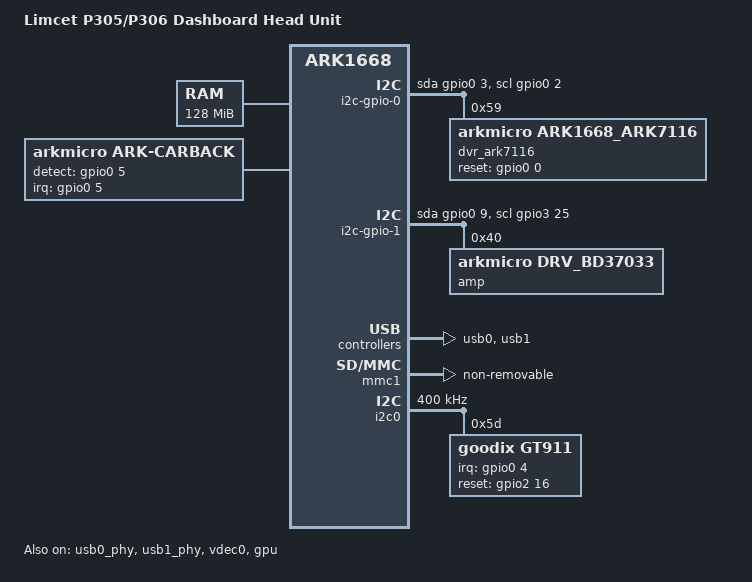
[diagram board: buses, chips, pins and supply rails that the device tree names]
// SPDX-License-Identifier: GPL-2.0
/dts-v1/;
#include "ark1668.dtsi"
#include "ark1668-pinctrl.dtsi"
#include <dt-bindings/gpio/gpio.h>

/ {
	model = "Limcet P305/P306 Dashboard Head Unit";
	compatible = "arkmicro,ark1668-limcet", "arkmicro,ark1668";

	memory {
		reg = <0x0 0x8000000>; // 128MB RAM
	};

	// Reversing Signal (Mapped but Prado uses UART protocol via MCUAdapter)
	carback: carback@0 {
		compatible = "arkmicro,ark-carback";
		interrupt-parent = <&gpio0>;
		interrupts = <5 IRQ_TYPE_EDGE_BOTH>;
		detect-gpios = <&gpio0 5 GPIO_ACTIVE_HIGH>;
		debounce-detect = <20>;
	};

	mcu_serial: mcu-serial@0 {
		compatible = "arkmicro,ark-mcu-serial";
	};

	tool_serial: tool-serial@0 {
		compatible = "arkmicro,ark-tool-serial";
	};

	// Bit-banged I2C Bus 0 (Analog I2C)
	i2c-gpio-0 {
		#address-cells = <1>;
		#size-cells = <0>;
		compatible = "i2c-gpio";
		gpios = <&gpio0 3 0		/* SDA (GPIO 3) */
			 &gpio0 2 0		/* SCL (GPIO 2) */
		>;
		i2c-gpio,delay-us = <6>;
		i2c-gpio,scl-output-only;

		// AHD Video Input Decoder (Reset line on GPIO 0)
		dvr_ark7116: dvr_ark7116@B2 {
			compatible = "arkmicro,ark1668_ark7116";
			reset-gpio = <&gpio0 0 0>;
			reg = <0x59>;
			carback-config = <1>;
		};
	};

	// Bit-banged I2C Bus 1
	i2c-gpio-1 {
		#address-cells = <1>;
		#size-cells = <0>;
		compatible = "i2c-gpio";
		gpios = <&gpio0 9 0		/* SDA (GPIO 9) */
			 &gpio3 25 0		/* SCL (GPIO 121) */
		>;
		i2c-gpio,delay-us = <6>;
		i2c-gpio,scl-output-only;

		// ROHM BD37033 Sound Processor
		amp: drv_bd37033@40 {
			status = "okay";
			compatible = "arkmicro,drv_bd37033";
			reg = <0x40>;
			flout-gain = <65>;
			frout-gain = <65>;
			rlout-gain = <65>;
			rrout-gain = <65>;
			#sound-dai-cells = <0>;
		};
	};

	// Audio Card configuration
	sound {
		compatible = "simple-audio-card";
		simple-audio-card,format = "i2s";
		simple-audio-card,name = "ark1668-audio";

		simple-audio-card,dai-link@0 { /* I2S ADC link */
			cpu {
				sound-dai = <&i2s_adc>;
			};
			codec {
				sound-dai = <&sdadc>;
			};
		};
		simple-audio-card,dai-link@1 { /* I2S DAC link */
			bitclock-master = <&playback_cpu>;
			frame-master = <&playback_cpu>;
			playback_cpu: cpu {
				sound-dai = <&i2s_dac>;
			};
			playback_codec: codec {
				sound-dai = <&sddac>;
			};
		};
	};
};

&usb0_phy {
	compatible = "usb-nop-xceiv";
	#phy-cells = <0>;
	status = "okay";
};

&usb1_phy {
	compatible = "usb-nop-xceiv";
	#phy-cells = <0>;
	status = "okay";
};

&usb0 {
	status = "okay";
};

&usb1 {
	status = "okay";
};

// Console debug UART
&uart0 {
	use-in-kernel;
	use-for-tool;
};

&uart1 {
	status = "disabled";
};

// High-speed MCU Communication UART
&uart3 {
	use-in-kernel;
	use-for-mcu;
};

// LCD Framebuffer Configuration
&lcdc {
	display = <&display0>;
	pinctrl-names = "default";
	pinctrl-0 = <&pinctrl_lcd_base &pinctrl_lcd_rgb888>;

	display0: display@0 {
		interface-type = "TTL";
		lvds-con = <0x160fd>;
		bits-per-pixel = <32>;
		power-control-gpio = <&gpio2 17 GPIO_ACTIVE_HIGH>; /* LCD power enable pin (GPIO 81) */
		lcd-wiring-mode = "BGR";
		lcdcon-backlight;
		pwms = <&pwm0 1 50000>; /* Backlight PWM Channel 1 */
		pwm-names = "backlight";
		backlight-value = <20>;
		backlight-delay = <200>;

		display-timings {
			native-mode = <&timing0>;
			timing0: timing0 {
				clock-frequency = <33000000>;
				hactive = <800>;
				vactive = <480>;
				hback-porch = <16>;
				hfront-porch = <210>;
				vback-porch = <12>;
				vfront-porch = <22>;
				hsync-len = <30>;
				vsync-len = <13>;
				hsync-active = <1>;
				vsync-active = <1>;
				de-active = <0>;
				pixelclk-active = <0>;
			};
		};
	};
};

&vdec0 {
	status = "okay";
};

// SDIO WiFi Controller
&mmc1 {
	status = "okay";
	non-removable;
	broken-cd;
};

&gpu {
	compatible = "arkmicro,vivante-hal", "fsl,imx6q-gpu";
	reg-names = "iobase_3d";
	interrupt-names = "irq_3d";
	clocks = <&gpuclk>, <&gpuclk>, <&gpuclk>, <&gpuclk>, <&gpuclk>, <&gpuclk>;
	clock-names = "gpu3d_clk", "gpu3d_axi_clk", "gpu3d_shader_clk", "gpu2d_clk", "gpu2d_axi_clk", "openvg_axi_clk";
	status = "okay";
};

&i2c0 {
	status = "okay";
	clock-frequency = <400000>;

	gt911: touchscreen@5d {
		compatible = "goodix,gt911";
		reg = <0x5d>;
		interrupt-parent = <&gpio0>;
		interrupts = <4 IRQ_TYPE_EDGE_FALLING>;
		irq-gpios = <&gpio0 4 GPIO_ACTIVE_HIGH>;
		reset-gpios = <&gpio2 16 GPIO_ACTIVE_HIGH>;
		touchscreen-inverted-x;
	};
};

&gpio0 {
	gpio-ranges = <&pinctrl0 0 0 6>, <&pinctrl0 6 6 2>, <&pinctrl0 10 10 22>;
};




